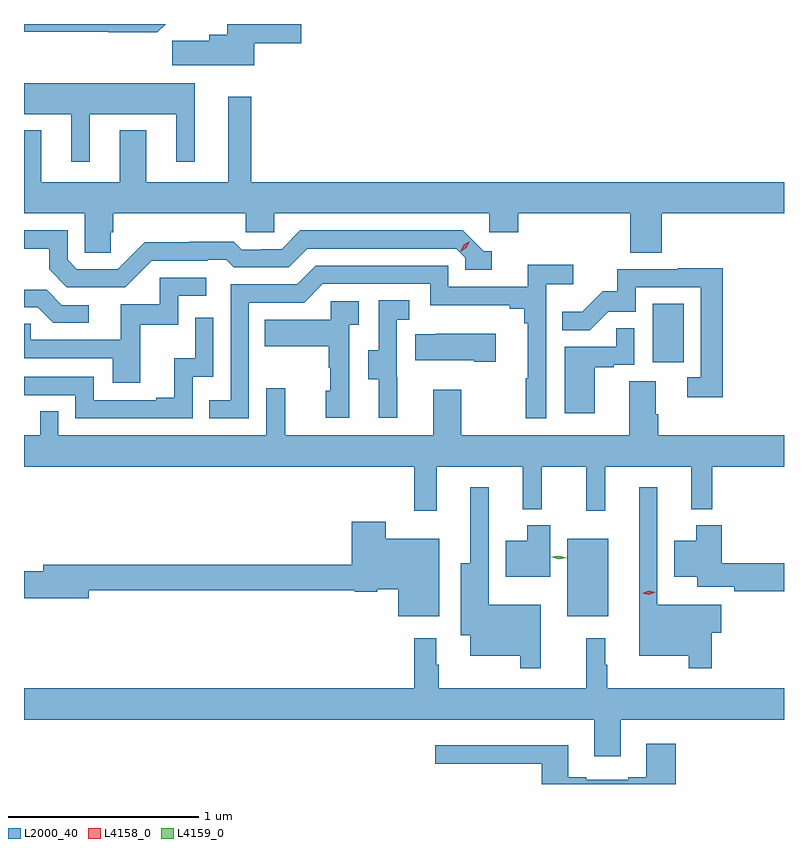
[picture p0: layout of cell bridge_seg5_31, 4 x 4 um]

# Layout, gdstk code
import gdstk
lib = gdstk.Library(unit=1e-6, precision=1e-09)
def R(c, l, rs):  # rectangles x0, y0, x1, y1
    for r in rs: c.add(gdstk.rectangle(r[:2], r[2:], *l))
def P(c, l, *ps):  # polygons
    for p in ps: c.add(gdstk.Polygon(p, *l))
L2000_40 = (2000, 40)
L4158_0 = (4158, 0)
L4159_0 = (4159, 0)

bridge_seg5_31 = lib.new_cell('bridge_seg5_31')
R(bridge_seg5_31, L2000_40, [(1050.914,906.587,1051.129,906.997), (1051.364,907.926,1051.528,908.233)])
P(bridge_seg5_31, L2000_40, [(1049.266,909.605),(1049.515,909.605),(1049.515,909.705),(1049.126,909.705),(1049.126,909.649),(1049.03,909.649),(1049.03,909.617),(1048.836,909.617),(1048.836,909.488),(1049.266,909.488)],
  [(1048.8,909.705),(1048.055,909.705),(1048.055,909.664),(1048.501,909.664),(1048.501,909.662),(1048.757,909.662)],
  [(1048.402,909.23),(1048.856,909.23),(1048.856,908.979),(1048.954,908.979),(1048.954,909.394),(1048.055,909.394),(1048.055,909.23),(1048.304,909.23),(1048.304,908.979),(1048.402,908.979)],
  [(1048.511,908.61),(1048.526,908.61),(1048.526,908.708),(1049.223,908.708),(1049.223,908.61),(1049.373,908.61),(1049.373,908.708),(1050.504,908.708),(1050.504,908.61),(1050.656,908.61),(1050.656,908.708),(1051.247,908.708),(1051.247,908.5),(1051.412,908.5),(1051.412,908.708),(1052.055,908.708),(1052.055,908.872),(1049.251,908.872),(1049.251,909.322),(1049.129,909.322),(1049.129,908.872),(1048.699,908.872),(1048.699,909.145),(1048.559,909.145),(1048.559,908.872),(1048.147,908.872),(1048.147,909.145),(1048.055,909.145),(1048.055,908.708),(1048.374,908.708),(1048.374,908.5),(1048.511,908.5)],
  [(1048.728,908.46),(1049.021,908.46),(1049.021,908.463),(1049.12,908.463),(1049.159,908.424),(1049.448,908.424),(1049.547,908.523),(1050.33,908.523),(1050.378,908.475),(1050.378,908.412),(1050.517,908.412),(1050.517,908.508),(1050.474,908.508),(1050.363,908.619),(1049.51,908.619),(1049.411,908.52),(1049.304,908.52),(1049.304,908.517),(1049.201,908.517),(1049.159,908.56),(1048.926,908.56),(1048.926,908.557),(1048.69,908.557),(1048.548,908.415),(1048.332,908.415),(1048.284,908.463),(1048.284,908.619),(1048.055,908.619),(1048.055,908.523),(1048.187,908.523),(1048.187,908.413),(1048.281,908.319),(1048.587,908.319)],
  [(1049.238,908.238),(1049.529,908.238),(1049.628,908.337),(1050.192,908.337),(1050.192,908.225),(1050.611,908.225),(1050.611,908.206),(1050.688,908.206),(1050.688,908.129),(1050.707,908.129),(1050.707,907.841),(1050.696,907.841),(1050.696,907.629),(1050.804,907.629),(1050.804,908.336),(1050.946,908.336),(1050.946,908.438),(1050.707,908.438),(1050.707,908.322),(1050.288,908.322),(1050.288,908.433),(1049.591,908.433),(1049.492,908.334),(1049.142,908.334),(1049.142,907.725),(1049.029,907.725),(1049.029,907.629),(1049.238,907.629)],
  [(1051.733,908.42),(1051.495,908.42),(1051.495,908.415),(1051.177,908.415),(1051.177,908.298),(1051.1,908.298),(1050.993,908.191),(1050.889,908.191),(1050.889,908.092),(1051.033,908.092),(1051.131,908.19),(1051.275,908.19),(1051.275,908.319),(1051.617,908.319),(1051.617,907.845),(1051.545,907.845),(1051.545,907.74),(1051.733,907.74)],
  [(1048.667,908.121),(1048.866,908.121),(1048.866,908.274),(1049.014,908.274),(1049.014,908.37),(1048.77,908.37),(1048.77,908.229),(1048.565,908.229),(1048.565,908.043),(1048.091,908.043),(1048.091,908.127),(1048.055,908.127),(1048.055,907.947),(1048.523,907.947),(1048.523,907.818),(1048.667,907.818)],
  [(1048.396,908.226),(1048.254,908.226),(1048.174,908.306),(1048.055,908.306),(1048.055,908.214),(1048.127,908.214),(1048.208,908.133),(1048.396,908.133)],
  [(1050.02,907.845),(1050.018,907.845),(1050.018,908.149),(1050.082,908.149),(1050.082,908.252),(1049.922,908.252),(1049.922,907.989),(1049.867,907.989),(1049.867,907.834),(1049.921,907.834),(1049.921,907.632),(1050.02,907.632)],
  [(1049.766,908.123),(1049.818,908.123),(1049.818,908.247),(1049.67,908.247),(1049.67,908.149),(1049.323,908.149),(1049.323,908.009),(1049.658,908.009),(1049.658,907.895),(1049.668,907.895),(1049.668,907.776),(1049.642,907.776),(1049.642,907.632),(1049.766,907.632)],
  [(1048.944,907.848),(1049.052,907.848),(1049.052,908.158),(1048.956,908.158),(1048.956,907.946),(1048.847,907.946),(1048.847,907.738),(1048.751,907.738),(1048.751,907.725),(1048.422,907.725),(1048.422,907.848),(1048.055,907.848),(1048.055,907.752),(1048.326,907.752),(1048.326,907.629),(1048.944,907.629)],
  [(1051.06,907.899),(1051.16,907.899),(1051.16,907.911),(1051.266,907.911),(1051.266,908.105),(1051.171,908.105),(1051.171,908.007),(1050.902,908.007),(1050.902,907.656),(1051.06,907.656)],
  [(1050.538,908.074),(1050.223,908.074),(1050.223,908.071),(1050.115,908.071),(1050.115,907.934),(1050.425,907.934),(1050.425,907.927),(1050.538,907.927)],
  [(1050.227,907.376),(1050.68,907.376),(1050.68,907.151),(1050.78,907.151),(1050.78,907.376),(1051.015,907.376),(1051.015,907.143),(1051.115,907.143),(1051.115,907.376),(1051.568,907.376),(1051.568,907.151),(1051.678,907.151),(1051.678,907.376),(1052.055,907.376),(1052.055,907.54),(1051.394,907.54),(1051.394,907.652),(1051.381,907.652),(1051.381,907.826),(1051.241,907.826),(1051.241,907.54),(1050.357,907.54),(1050.357,907.78),(1050.209,907.78),(1050.209,907.54),(1049.429,907.54),(1049.429,907.789),(1049.331,907.789),(1049.331,907.54),(1048.236,907.54),(1048.236,907.667),(1048.14,907.667),(1048.14,907.54),(1048.055,907.54),(1048.055,907.376),(1050.109,907.376),(1050.109,907.143),(1050.227,907.143)],
  [(1051.675,906.502),(1051.726,906.502),(1051.726,906.649),(1051.389,906.649),(1051.389,907.267),(1051.292,907.267),(1051.292,906.38),(1051.554,906.38),(1051.554,906.315),(1051.675,906.315)],
  [(1050.774,906.649),(1050.501,906.649),(1050.501,907.267),(1050.404,907.267),(1050.404,906.868),(1050.353,906.868),(1050.353,906.488),(1050.404,906.488),(1050.404,906.38),(1050.666,906.38),(1050.666,906.315),(1050.774,906.315)],
  [(1050.241,906.997),(1049.958,906.997),(1049.958,907.084),(1049.78,907.084),(1049.78,906.86),(1048.157,906.86),(1048.157,906.824),(1048.055,906.824),(1048.055,906.682),(1048.396,906.682),(1048.396,906.724),(1049.796,906.724),(1049.796,906.716),(1049.913,906.716),(1049.913,906.731),(1050.026,906.731),(1050.026,906.587),(1050.241,906.587)],
  [(1050.826,907.066),(1050.704,907.066),(1050.704,906.985),(1050.59,906.985),(1050.59,906.797),(1050.826,906.797)],
  [(1052.055,906.866),(1051.727,906.866),(1051.727,907.066),(1051.592,907.066),(1051.592,906.985),(1051.478,906.985),(1051.478,906.797),(1051.598,906.797),(1051.598,906.743),(1051.794,906.743),(1051.794,906.719),(1052.055,906.719)],
  [(1051.195,906.044),(1052.055,906.044),(1052.055,906.208),(1051.126,906.208),(1051.126,906.332),(1051.114,906.332),(1051.114,906.472),(1051.015,906.472),(1051.015,906.208),(1050.238,906.208),(1050.238,906.332),(1050.225,906.332),(1050.225,906.472),(1050.109,906.472),(1050.109,906.208),(1048.055,906.208),(1048.055,906.044),(1051.055,906.044),(1051.055,905.85),(1051.195,905.85)],
  [(1051.484,905.917),(1051.331,905.917),(1051.331,905.74),(1051.235,905.74),(1051.235,905.727),(1051.015,905.727),(1051.015,905.74),(1050.919,905.74),(1050.919,905.908),(1050.219,905.908),(1050.219,905.811),(1050.779,905.811),(1050.779,905.705),(1051.484,905.705)])
P(bridge_seg5_31, L4158_0, [(1051.344,906.702),(1051.308,906.71),(1051.308,906.71),(1051.308,906.71),(1051.342,906.722),(1051.378,906.715),(1051.379,906.715),(1051.378,906.715)],
  [(1050.354,908.508),(1050.354,908.509),(1050.37,908.542),(1050.4,908.562),(1050.4,908.562),(1050.4,908.562),(1050.385,908.529),(1050.355,908.508)])
P(bridge_seg5_31, L4159_0, [(1050.869,906.888),(1050.829,906.9),(1050.829,906.9),(1050.829,906.9),(1050.87,906.907),(1050.91,906.895),(1050.911,906.895),(1050.91,906.895)])

lib.write_gds('bridge_seg5_31.gds')
